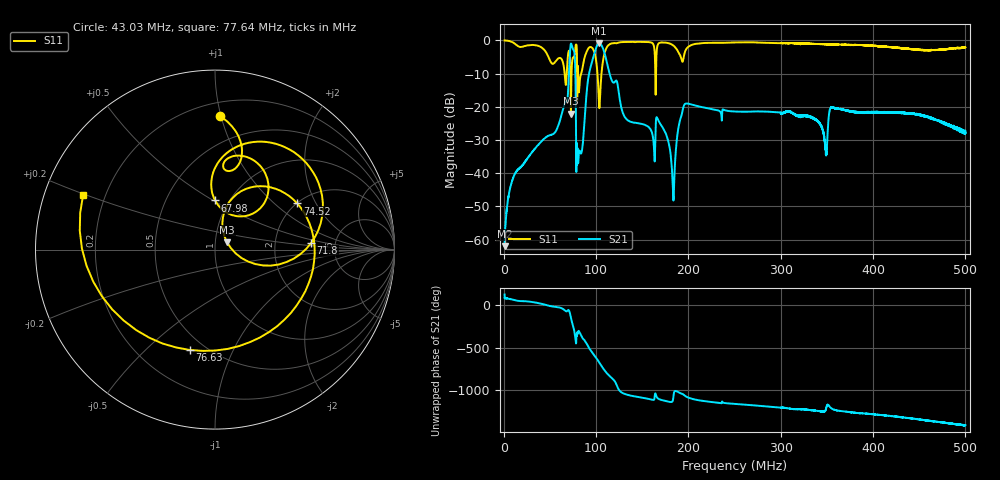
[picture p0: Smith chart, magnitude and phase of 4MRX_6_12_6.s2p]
! NanoVNA-App
! Date: 2026-08-19 15:12:56
! Start: 1MHz Stop: 500MHz Points: 6401
! S-Parameter data: F S11 S21 S12 S22
# Hz S RI R 50
!  Frequency  S11_Real  S11_Imag  S21_Real  S21_Imag  S12_Real  S12_Imag  S22_Real  S22_Imag
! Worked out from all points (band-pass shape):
!   6401 points, 1 MHz to 500 MHz, reference 50 ohm
!   highest |S21| = -0.90 dB at 103.5 MHz (marker M1); lowest = -62.0 dB at 1 MHz (marker M2)
!   |S21| within 3 dB of the highest: 71.75 MHz to 76.67 MHz (4.92 MHz wide, 6.63 % of centre); 98.18 MHz to 109.3 MHz (11.12 MHz wide, 10.7 % of centre)
!   lowest |S11| = -22.1 dB at 72.81 MHz (marker M3), VSWR 1.17, Z = 57.1 + j4.58 ohm
!   |S11| at or under -10 dB: 66.03 MHz to 68.22 MHz (2.186 MHz wide, 3.26 % of centre); 80.64 MHz to 84.04 MHz (3.394 MHz wide, 4.12 % of centre); 101.5 MHz to 105.9 MHz (4.354 MHz wide, 4.2 % of centre)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
!   S12 and S22 are empty: the file has one direction only
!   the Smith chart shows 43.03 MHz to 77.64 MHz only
!   S11 on the Smith chart (normalised r, x): 43.03 MHz: 0.30, +0.99; 67.98 MHz: 0.86, +0.51; 71.8 MHz: 3.28, +0.34; 74.52 MHz: 2.01, +1.43; 76.63 MHz: 0.41, -0.69; 77.64 MHz: 0.12, +0.20
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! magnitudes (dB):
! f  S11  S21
! 1 MHz  0.0  -62.0
! 10.75 MHz  -0.7  -41.0
! 43.03 MHz  -2.6  -29.8
! 67.98 MHz  -11.3  -18.4
! 71.8 MHz  -5.4  -3.7
! 72.81 MHz  -22.1  -1.0
! 74.52 MHz  -5.6  -2.3
! 76.63 MHz  -4.8  -3.8
! 77.64 MHz  -2.0  -10.5
! 80.76 MHz  -11.0  -36.8
! 84.19 MHz  -9.8  -33.8
! 95.34 MHz  -2.1  -6.8
! 103.5 MHz  -20.1  -0.9
! 112 MHz  -1.9  -6.9
! 132.3 MHz  -0.5  -23.5
! 167.4 MHz  -1.0  -24.0
! 183.5 MHz  -1.5  -47.0
! 196.8 MHz  -3.1  -19.1
! 250.5 MHz  -0.6  -21.4
! 333.7 MHz  -1.1  -23.2
! 416.9 MHz  -2.0  -21.7
! 500 MHz  -2.1  -27.9
